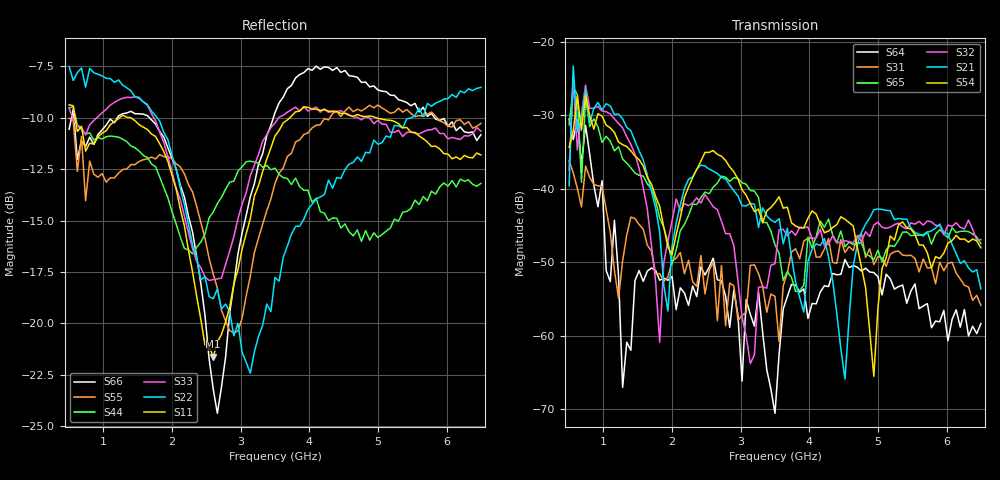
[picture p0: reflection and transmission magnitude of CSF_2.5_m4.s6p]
!Keysight Technologies,M9804A,MY58100912,A.14.10.03
!Date: Thursday, April 27, 2023 10:28:33
!Correction: S11(C  6-Port  )
!S12(C  6-Port  )
!S13(C  6-Port  )
!S14(C  6-Port  )
!S15(C  6-Port  )
!S16(C  6-Port  )
!S21(C  6-Port  )
!S22(C  6-Port  )
!S23(C  6-Port  )
!S24(C  6-Port  )
!S25(C  6-Port  )
!S26(C  6-Port  )
!S31(C  6-Port  )
!S32(C  6-Port  )
!S33(C  6-Port  )
!S34(C  6-Port  )
!S35(C  6-Port  )
!S36(C  6-Port  )
!S41(C  6-Port  )
!S42(C  6-Port  )
!S43(C  6-Port  )
!S44(C  6-Port  )
!S45(C  6-Port  )
!S46(C  6-Port  )
!S51(C  6-Port  )
!S52(C  6-Port  )
!S53(C  6-Port  )
!S54(C  6-Port  )
!S55(C  6-Port  )
!S56(C  6-Port  )
!S61(C  6-Port  )
!S62(C  6-Port  )
!S63(C  6-Port  )
!S64(C  6-Port  )
!S65(C  6-Port  )
!S66(C  6-Port  )
!S6P File: Measurement: :
# Hz S  RI  R 50
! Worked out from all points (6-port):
!   101 points, 500 MHz to 6.5 GHz, reference 50 ohm
!   strongest paths, dB at 500 MHz, 2 GHz, 3.5 GHz, 5 GHz, 6.5 GHz:
!     S54: -34.3, -48.9, -41.9, -56.2, -48.0
!     S21: -39.6, -47.8, -44.6, -42.8, -53.6
!     S32: -37.5, -44.4, -50.2, -44.6, -46.9
!     S65: -31.3, -50.3, -47.6, -48.4, -47.5
!     S31: -36.2, -49.8, -54.7, -49.2, -55.9
!     S64: -30.5, -52.0, -70.6, -52.0, -58.4
!   lowest |S11| = -21.6 dB at 2.6 GHz (marker M1), VSWR 1.18, Z = 42.6 + j2.04 ohm
!   |S11| at or under -10 dB: 588 MHz to 1.236 GHz (648.2 MHz wide, 71.1 % of centre); 1.395 GHz to 3.715 GHz (2.321 GHz wide, 90.8 % of centre); 4.974 GHz to end of sweep
